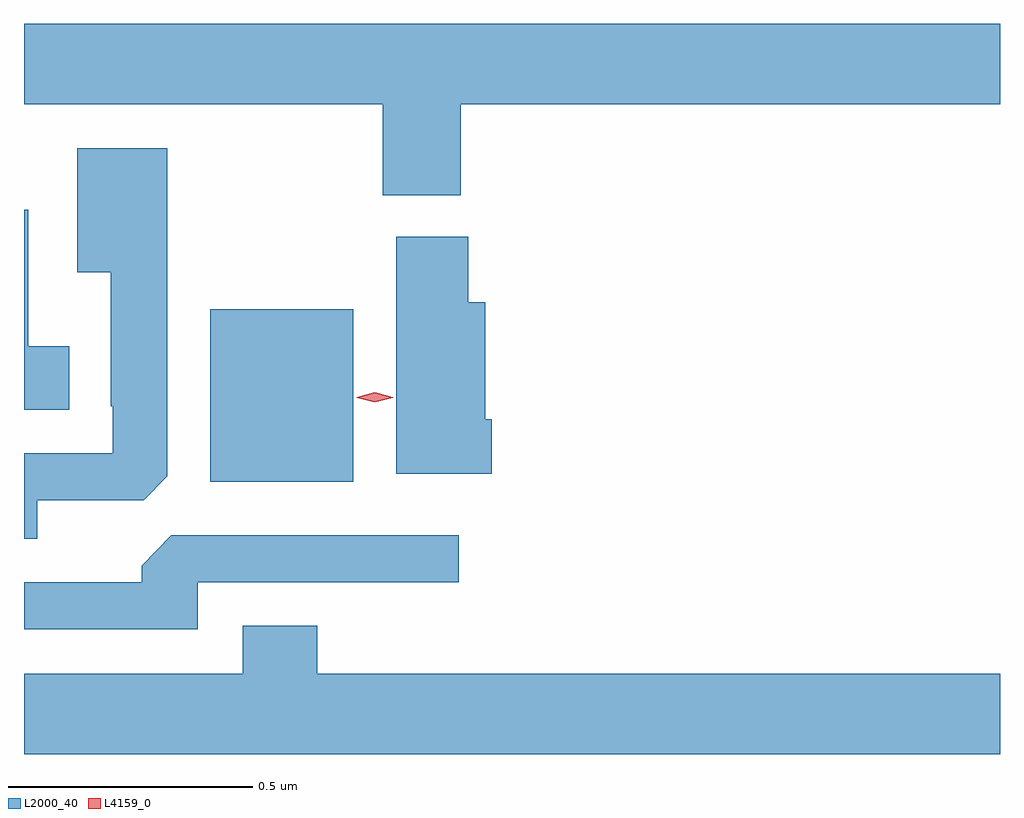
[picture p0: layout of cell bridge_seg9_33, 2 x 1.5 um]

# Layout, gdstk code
import gdstk
lib = gdstk.Library(unit=1e-6, precision=1e-09)
def R(c, l, rs):  # rectangles x0, y0, x1, y1
    for r in rs: c.add(gdstk.rectangle(r[:2], r[2:], *l))
def P(c, l, *ps):  # polygons
    for p in ps: c.add(gdstk.Polygon(p, *l))
L2000_40 = (2000, 40)
L4159_0 = (4159, 0)

bridge_seg9_33 = lib.new_cell('bridge_seg9_33')
R(bridge_seg9_33, L2000_40, [(986.369,1214.294,986.662,1214.647)])
P(bridge_seg9_33, L2000_40, [(985.987,1215.068),(986.722,1215.068),(986.722,1214.881),(986.882,1214.881),(986.882,1215.068),(987.987,1215.068),(987.987,1215.232),(985.987,1215.232)],
  [(986.014,1214.256),(986.232,1214.256),(986.281,1214.305),(986.281,1214.977),(986.096,1214.977),(986.096,1214.723),(986.165,1214.723),(986.165,1214.449),(986.169,1214.449),(986.169,1214.352),(985.987,1214.352),(985.987,1214.177),(986.014,1214.177)],
  [(986.08,1214.572),(985.996,1214.572),(985.996,1214.851),(985.987,1214.851),(985.987,1214.441),(986.08,1214.441)],
  [(986.945,1214.422),(986.932,1214.422),(986.932,1214.662),(986.897,1214.662),(986.897,1214.796),(986.75,1214.796),(986.75,1214.31),(986.945,1214.31)],
  [(986.343,1214.088),(986.878,1214.088),(986.878,1214.184),(986.289,1214.184),(986.228,1214.122),(986.228,1214.088),(985.987,1214.088),(985.987,1213.992),(986.343,1213.992)],
  [(987.987,1213.9),(986.588,1213.9),(986.588,1213.999),(986.435,1213.999),(986.435,1213.9),(985.987,1213.9),(985.987,1213.736),(987.987,1213.736)])
P(bridge_seg9_33, L4159_0, [(986.706,1214.457),(986.669,1214.466),(986.669,1214.467),(986.669,1214.467),(986.706,1214.477),(986.743,1214.467),(986.744,1214.467),(986.743,1214.466)])

lib.write_gds('bridge_seg9_33.gds')
